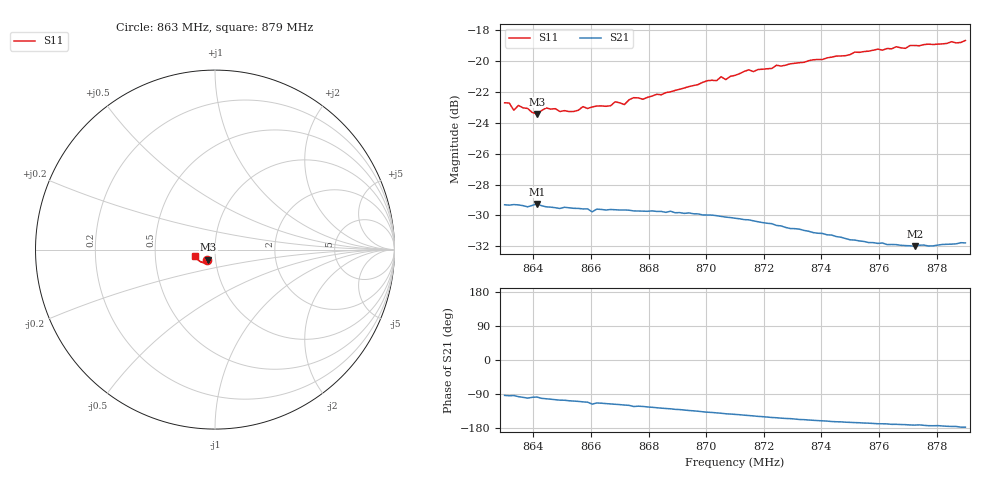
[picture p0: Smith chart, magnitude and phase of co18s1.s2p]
# HZ S RI R 50
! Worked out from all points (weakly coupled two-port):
!   101 points, 863 MHz to 879 MHz, reference 50 ohm
!   highest |S21| = -29.26 dB at 864.12 MHz (marker M1); lowest = -32.0 dB at 877.24 MHz (marker M2)
!   lowest |S11| = -23.4 dB at 864.12 MHz (marker M3), VSWR 1.14, Z = 46.1 - j5.2 ohm
!   |S11| at or under -10 dB: start of sweep to end of sweep
!   S12 and S22 are empty: the file has one direction only
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8.63e8  -0.0467 -0.0563  -0.00203 -0.0342  0 0  0 0
8.6316e8  -0.0454 -0.0571  -0.00263 -0.034  0 0  0 0
8.6332e8  -0.0377 -0.058  -0.00224 -0.0342  0 0  0 0
8.6348e8  -0.0441 -0.0565  -0.00398 -0.034  0 0  0 0
8.6412e8  -0.0373 -0.0561  -0.00464 -0.0341  0 0  0 0
8.6444e8  -0.043 -0.0557  -0.0072 -0.0329  0 0  0 0
8.654e8  -0.0359 -0.0584  -0.0105 -0.0316  0 0  0 0
8.6572e8  -0.0369 -0.0608  -0.0116 -0.0311  0 0  0 0
8.6604e8  -0.0373 -0.0603  -0.0144 -0.0291  0 0  0 0
8.6668e8  -0.0354 -0.0621  -0.0145 -0.0297  0 0  0 0
8.6684e8  -0.0366 -0.0639  -0.0149 -0.0294  0 0  0 0
8.6716e8  -0.0356 -0.0628  -0.0159 -0.0288  0 0  0 0
8.6748e8  -0.0409 -0.064  -0.0177 -0.0275  0 0  0 0
8.678e8  -0.0372 -0.0652  -0.0176 -0.0275  0 0  0 0
8.6844e8  -0.0383 -0.0675  -0.0197 -0.026  0 0  0 0
8.71e8  -0.0515 -0.0734  -0.0249 -0.0184  0 0  0 0
8.7148e8  -0.0559 -0.0749  -0.0255 -0.0169  0 0  0 0
8.7164e8  -0.0552 -0.0739  -0.0256 -0.0163  0 0  0 0
8.7372e8  -0.0704 -0.072  -0.026 -0.00991  0 0  0 0
8.7644e8  -0.0923 -0.0586  -0.0251 -0.00451  0 0  0 0
8.7724e8  -0.0982 -0.0539  -0.0249 -0.00358  0 0  0 0
8.79e8  -0.111 -0.0348  -0.0257 -0.00122  0 0  0 0
